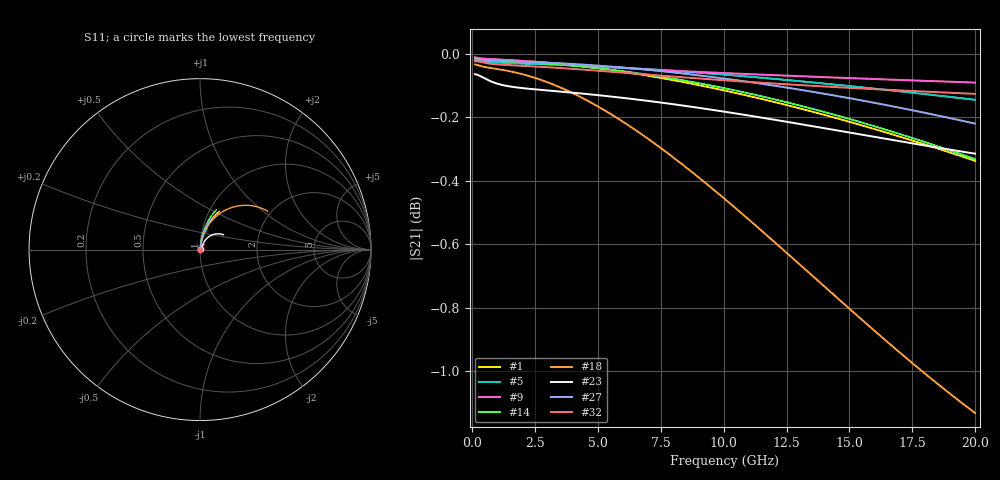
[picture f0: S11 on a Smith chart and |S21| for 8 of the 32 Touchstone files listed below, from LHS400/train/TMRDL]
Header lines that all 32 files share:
! Touchstone file exported from HFSS 2026.1.0
!  Design:  TMRDL
! Variables:
! Terminal data exported
# GHz S MA R 50.000000
Fixed: h_bsmrdl = 2um, h_ox = 20um, h_rdl = 5um, h_sub = 80um, h_tsv = 80um, h_via = 3um, l_bsmrdl = 300um, m_sub = 200um, r_tsv = 6um, s_tmrdl = 10um, w_bsmrdl = 18um, w_sub = 500um
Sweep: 100 MHz to 20 GHz
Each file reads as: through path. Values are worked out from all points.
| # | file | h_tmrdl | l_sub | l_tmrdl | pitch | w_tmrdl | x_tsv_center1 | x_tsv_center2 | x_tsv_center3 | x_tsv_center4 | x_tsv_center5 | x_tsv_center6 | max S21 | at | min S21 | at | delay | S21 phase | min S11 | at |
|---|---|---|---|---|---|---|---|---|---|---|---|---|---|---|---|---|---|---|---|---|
| 1 | dut300.s2p | 3.21um | 728.24um | 328.24um | 57.8um | 28.08um | 342.28um | 660.28um | 1016.6um | 1334.6um | 1690.92um | 2008.92um | -0.01 dB | 100 MHz | -0.3 dB | 20 GHz | 3.54 ps | -13 deg at 10.1 GHz | -53.3 dB | 100 MHz |
| 2 | dut301.s2p | 4.54um | 961.65um | 561.65um | 43.47um | 23.79um | 573.545um | 891.545um | 1476.985um | 1794.985um | 2380.425um | 2698.425um | -0.02 dB | 100 MHz | -0.4 dB | 20 GHz | 5.05 ps | -19 deg at 10.1 GHz | -51.2 dB | 100 MHz |
| 3 | dut302.s2p | 3.52um | 643.87um | 243.87um | 47.94um | 17.66um | 252.7um | 570.7um | 832.23um | 1150.23um | 1411.76um | 1729.76um | -0.01 dB | 100 MHz | -0.3 dB | 20 GHz | 2.85 ps | -11 deg at 10.1 GHz | -53.8 dB | 100 MHz |
| 4 | dut303.s2p | 3.05um | 786.8um | 386.8um | 39.38um | 23um | 398.3um | 716.3um | 1126.1um | 1444.1um | 1853.9um | 2171.9um | -0.02 dB | 100 MHz | -0.3 dB | 20 GHz | 3.62 ps | -13 deg at 10.1 GHz | -51.8 dB | 100 MHz |
| 5 | dut304.s2p | 2.53um | 629.26um | 229.26um | 24.13um | 13.31um | 235.915um | 553.915um | 796.485um | 1114.485um | 1357.055um | 1675.055um | -0.02 dB | 100 MHz | -0.1 dB | 20 GHz | 2.16 ps | -8 deg at 10.1 GHz | -51.2 dB | 100 MHz |
| 6 | dut306.s2p | 2.76um | 1262.54um | 862.54um | 32.54um | 27.52um | 876.3um | 1194.3um | 2084.36um | 2402.36um | 3292.42um | 3610.42um | -0.04 dB | 100 MHz | -0.2 dB | 20 GHz | 6.77 ps | -25 deg at 10.1 GHz | -46.8 dB | 100 MHz |
| 7 | dut308.s2p | 3.75um | 1309.27um | 909.27um | 23.57um | 15.68um | 917.11um | 1235.11um | 2160.06um | 2478.06um | 3403.01um | 3721.01um | -0.05 dB | 100 MHz | -0.4 dB | 20 GHz | 7.16 ps | -27 deg at 10.1 GHz | -44.5 dB | 100 MHz |
| 8 | dut309.s2p | 3.27um | 1010.16um | 610.16um | 25.22um | 21.28um | 620.8um | 938.8um | 1570.24um | 1888.24um | 2519.68um | 2837.68um | -0.03 dB | 100 MHz | -0.2 dB | 20 GHz | 4.74 ps | -18 deg at 10.1 GHz | -49.2 dB | 100 MHz |
| 9 | dut310.s2p | 5.48um | 812.94um | 412.94um | 34.64um | 27.44um | 426.66um | 744.66um | 1185.04um | 1503.04um | 1943.42um | 2261.42um | -0.01 dB | 100 MHz | -0.1 dB | 20 GHz | 3.28 ps | -12 deg at 10.1 GHz | -57.4 dB | 100 MHz |
| 10 | dut311.s2p | 4.02um | 992.6um | 592.6um | 43.41um | 16.12um | 600.66um | 918.66um | 1527.38um | 1845.38um | 2454.1um | 2772.1um | -0.03 dB | 100 MHz | -0.9 dB | 20 GHz | 5.78 ps | -22 deg at 10.1 GHz | -47.3 dB | 100 MHz |
| 11 | dut312.s2p | 3.73um | 1078.46um | 678.46um | 44.49um | 22.04um | 689.48um | 1007.48um | 1707.98um | 2025.98um | 2726.48um | 3044.48um | -0.03 dB | 100 MHz | -0.7 dB | 20 GHz | 6.18 ps | -24 deg at 10.1 GHz | -47.9 dB | 100 MHz |
| 12 | dut313.s2p | 4.65um | 906.75um | 506.75um | 40.27um | 18.71um | 516.105um | 834.105um | 1359.565um | 1677.565um | 2203.025um | 2521.025um | -0.02 dB | 100 MHz | -0.5 dB | 20 GHz | 4.73 ps | -18 deg at 10.1 GHz | -50.7 dB | 100 MHz |
| 13 | dut314.s2p | 3.69um | 999.52um | 599.52um | 53.19um | 25.5um | 612.27um | 930.27um | 1555.29um | 1873.29um | 2498.31um | 2816.31um | -0.02 dB | 100 MHz | -0.7 dB | 20 GHz | 5.72 ps | -22 deg at 10.1 GHz | -49.2 dB | 100 MHz |
| 14 | dut318.s2p | 2.14um | 622.01um | 222.01um | 59.41um | 21.43um | 232.725um | 550.725um | 794.165um | 1112.165um | 1355.605um | 1673.605um | -0.02 dB | 100 MHz | -0.3 dB | 20 GHz | 2.93 ps | -11 deg at 10.1 GHz | -51.9 dB | 100 MHz |
| 15 | dut319.s2p | 3.75um | 836.92um | 436.92um | 49.03um | 20.59um | 447.215um | 765.215um | 1222.725um | 1540.725um | 1998.235um | 2316.235um | -0.02 dB | 100 MHz | -0.5 dB | 20 GHz | 4.46 ps | -17 deg at 10.1 GHz | -50.6 dB | 100 MHz |
| 16 | dut320.s2p | 2.53um | 554.66um | 154.66um | 56.41um | 24.91um | 167.115um | 485.115um | 664.685um | 982.685um | 1162.255um | 1480.255um | -0.01 dB | 100 MHz | -0.2 dB | 20 GHz | 2.06 ps | -8 deg at 10.1 GHz | -56.3 dB | 100 MHz |
| 17 | dut321.s2p | 2.19um | 1257.98um | 857.98um | 32.31um | 20.78um | 868.37um | 1186.37um | 2065.13um | 2383.13um | 3261.89um | 3579.89um | -0.06 dB | 100 MHz | -0.6 dB | 20 GHz | 7.18 ps | -27 deg at 10.1 GHz | -42.7 dB | 100 MHz |
| 18 | dut322.s2p | 3.42um | 1329.63um | 929.63um | 53.65um | 27.07um | 943.165um | 1261.165um | 2217.865um | 2535.865um | 3492.565um | 3810.565um | -0.03 dB | 100 MHz | -1.1 dB | 20 GHz | 8.19 ps | -32 deg at 10.1 GHz | -45.7 dB | 100 MHz |
| 19 | dut323.s2p | 5.19um | 537.69um | 137.69um | 54.26um | 28.55um | 151.965um | 469.965um | 636.205um | 954.205um | 1120.445um | 1438.445um | 0.00 dB | 100 MHz | -0.1 dB | 20 GHz | 1.61 ps | -6 deg at 10.1 GHz | -61.9 dB | 100 MHz |
| 20 | dut324.s2p | 5.23um | 789.18um | 389.18um | 17.46um | 12.05um | 395.205um | 713.205um | 1114.435um | 1432.435um | 1833.665um | 2151.665um | -0.02 dB | 100 MHz | -0.1 dB | 20 GHz | 2.98 ps | -11 deg at 10.1 GHz | -52.5 dB | 100 MHz |
| 21 | dut325.s2p | 4.21um | 640.81um | 240.81um | 33.28um | 11.65um | 246.635um | 564.635um | 817.095um | 1135.095um | 1387.555um | 1705.555um | -0.02 dB | 100 MHz | -0.2 dB | 20 GHz | 2.57 ps | -10 deg at 10.1 GHz | -53.3 dB | 100 MHz |
| 22 | dut326.s2p | 3.66um | 826.79um | 426.79um | 42.13um | 13.17um | 433.375um | 751.375um | 1191.335um | 1509.335um | 1949.295um | 2267.295um | -0.03 dB | 100 MHz | -0.7 dB | 20 GHz | 4.55 ps | -17 deg at 10.1 GHz | -48.1 dB | 100 MHz |
| 23 | dut327.s2p | 2.02um | 1282.5um | 882.5um | 27.81um | 21.98um | 893.49um | 1211.49um | 2115.97um | 2433.97um | 3338.45um | 3656.45um | -0.06 dB | 100 MHz | -0.3 dB | 20 GHz | 7.01 ps | -26 deg at 10.1 GHz | -42.5 dB | 100 MHz |
| 24 | dut328.s2p | 4.33um | 607.53um | 207.53um | 17.18um | 13.08um | 214.07um | 532.07um | 752.68um | 1070.68um | 1291.29um | 1609.29um | -0.01 dB | 100 MHz | -0.1 dB | 20 GHz | 1.62 ps | -6 deg at 10.1 GHz | -56.6 dB | 100 MHz |
| 25 | dut329.s2p | 5.29um | 1367.59um | 967.59um | 22.46um | 16.99um | 976.085um | 1294.085um | 2278.665um | 2596.665um | 3581.245um | 3899.245um | -0.04 dB | 100 MHz | -0.2 dB | 20 GHz | 7.32 ps | -27 deg at 10.1 GHz | -47.5 dB | 100 MHz |
| 26 | dut330.s2p | 3.28um | 510.3um | 110.3um | 22.58um | 10.75um | 115.675um | 433.675um | 554.725um | 872.725um | 993.775um | 1311.775um | -0.01 dB | 100 MHz | -0.1 dB | 20 GHz | 1.13 ps | -4 deg at 10.1 GHz | -57.3 dB | 100 MHz |
| 27 | dut331.s2p | 2.18um | 633.2um | 233.2um | 50.36um | 24.62um | 245.51um | 563.51um | 821.33um | 1139.33um | 1397.15um | 1715.15um | -0.02 dB | 100 MHz | -0.2 dB | 20 GHz | 2.67 ps | -10 deg at 10.1 GHz | -53.0 dB | 100 MHz |
| 28 | dut332.s2p | 5.73um | 843.82um | 443.82um | 30.12um | 23.34um | 455.49um | 773.49um | 1240.65um | 1558.65um | 2025.81um | 2343.81um | -0.01 dB | 100 MHz | -0.1 dB | 20 GHz | 3.48 ps | -13 deg at 10.1 GHz | -56.3 dB | 100 MHz |
| 29 | dut333.s2p | 5.16um | 825.97um | 425.97um | 20.83um | 12.89um | 432.415um | 750.415um | 1189.275um | 1507.275um | 1946.135um | 2264.135um | -0.02 dB | 100 MHz | -0.2 dB | 20 GHz | 3.4 ps | -13 deg at 10.1 GHz | -51.9 dB | 100 MHz |
| 30 | dut334.s2p | 4.05um | 1237.78um | 837.78um | 29.88um | 13.01um | 844.285um | 1162.285um | 2013.075um | 2331.075um | 3181.865um | 3499.865um | -0.05 dB | 100 MHz | -1.0 dB | 20 GHz | 7.22 ps | -28 deg at 10.1 GHz | -43.8 dB | 100 MHz |
| 31 | dut335.s2p | 5.18um | 515.72um | 115.72um | 52.97um | 23.27um | 127.355um | 445.355um | 584.345um | 902.345um | 1041.335um | 1359.335um | 0.00 dB | 100 MHz | -0.1 dB | 20 GHz | 1.49 ps | -5 deg at 10.1 GHz | -61.9 dB | 100 MHz |
| 32 | dut336.s2p | 3.66um | 803.74um | 403.74um | 21.67um | 17.85um | 412.665um | 730.665um | 1152.255um | 1470.255um | 1891.845um | 2209.845um | -0.02 dB | 100 MHz | -0.1 dB | 20 GHz | 3.14 ps | -12 deg at 10.1 GHz | -52.2 dB | 100 MHz |
